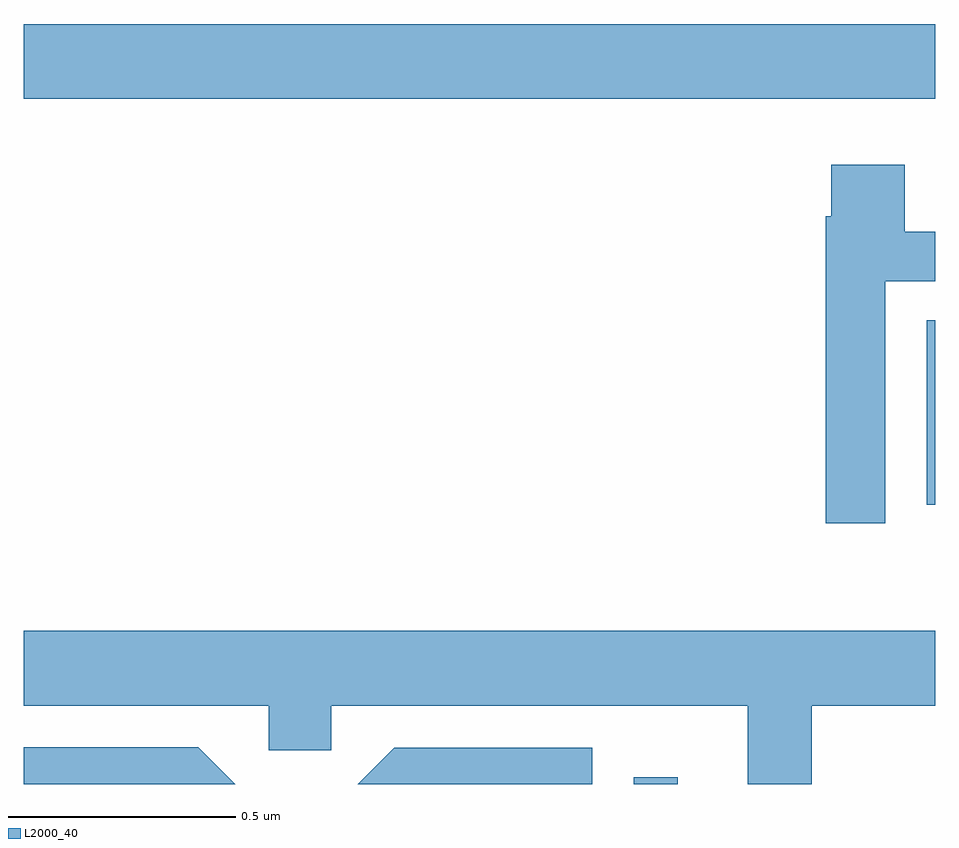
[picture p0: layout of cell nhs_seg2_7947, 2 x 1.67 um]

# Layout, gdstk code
import gdstk
lib = gdstk.Library(unit=1e-6, precision=1e-09)
def R(c, l, rs):  # rectangles x0, y0, x1, y1
    for r in rs: c.add(gdstk.rectangle(r[:2], r[2:], *l))
def P(c, l, *ps):  # polygons
    for p in ps: c.add(gdstk.Polygon(p, *l))
L2000_40 = (2000, 40)

nhs_seg2_7947 = lib.new_cell('nhs_seg2_7947')
R(nhs_seg2_7947, L2000_40, [(211.339,644.8,211.435,644.815), (211.982,645.413,212,645.818), (210,646.304,212,646.468)])
P(nhs_seg2_7947, L2000_40, [(211.891,645.903),(212,645.903),(212,646.012),(211.933,646.012),(211.933,646.159),(211.772,646.159),(211.772,646.046),(211.76,646.046),(211.76,645.372),(211.891,645.372)],
  [(211.729,644.972),(212,644.972),(212,645.136),(210,645.136),(210,644.972),(210.537,644.972),(210.537,644.874),(210.675,644.874),(210.675,644.972),(211.589,644.972),(211.589,644.8),(211.729,644.8)],
  [(210.383,644.881),(210,644.881),(210,644.8),(210.464,644.8)],
  [(211.248,644.88),(210.813,644.88),(210.733,644.8),(211.248,644.8)])

lib.write_gds('nhs_seg2_7947.gds')
